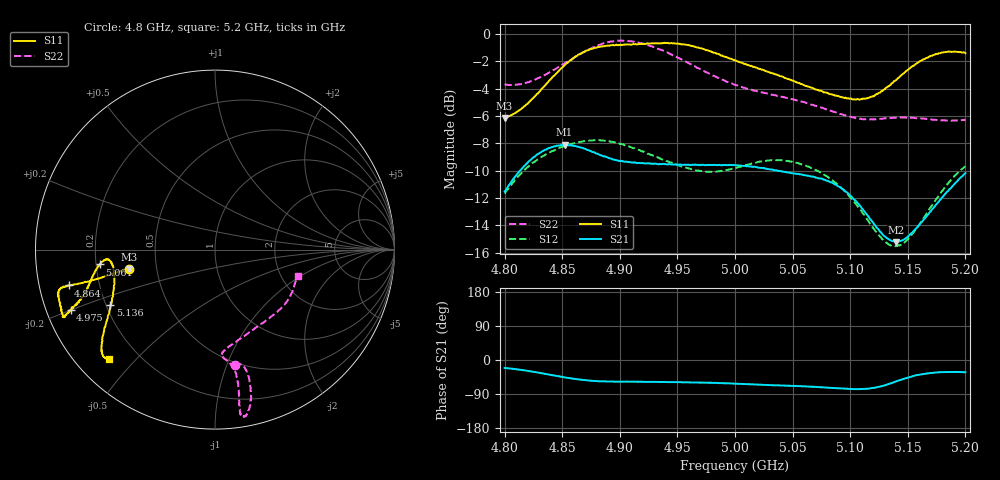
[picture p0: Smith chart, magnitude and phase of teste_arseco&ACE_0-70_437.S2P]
! Network Analyzer HP8722D
! Hewlett-Packard
! Data name: Linha & Wilkinson
! Saver's name: Rodrigo Anjos
! Comments: Teste da utilização de aquisição
! continua pelo VNA HP8722D
! Time and date: 8/5/2025 16:24
!  Frequency  S11  S21  S12  S22
# HZ  S  MA R 50
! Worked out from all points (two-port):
!   401 points, 4.8 GHz to 5.2 GHz, reference 50 ohm
!   highest |S21| = -8.12 dB at 4.852 GHz (marker M1); lowest = -15.2 dB at 5.14 GHz (marker M2)
!   |S21| within 3 dB of the highest: 4.803 GHz to 5.089 GHz (285.6 MHz wide, 5.77 % of centre); 5.189006 GHz to end of sweep
!   lowest |S11| = -6.2 dB at 4.8 GHz (marker M3), VSWR 2.94, Z = 17.2 - j4.93 ohm
!   |S11| at or under -10 dB: nowhere
!   |S22| runs from -6.4 to -0.5 dB; largest |S21 - S12| = 0.62
!   S11 on the Smith chart (normalised r, x): 4.8 GHz: 0.34, -0.10; 4.864 GHz: 0.09, -0.12; 4.975 GHz: 0.07, -0.20; 5.061 GHz: 0.22, -0.06; 5.136 GHz: 0.22, -0.24; 5.2 GHz: 0.10, -0.42
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4.8e9  0.4923 -167.3  0.2647 -21.0  0.2604 -142.3  0.6535 -80.2
4.827e9  0.5951 -166.6  0.3585 -32.2  0.3427 -146.5  0.6822 -75.8
4.852e9  0.7678 -166.0  0.3927 -45.6  0.3887 -151.0  0.7785 -75.4
4.864e9  0.8396 -166.3  0.3864 -51.1  0.4012 -152.8  0.8347 -76.1
4.867e9  0.8518 -166.1  0.3836 -52.3  0.4033 -153.3  0.8502 -76.2
4.899e9  0.9096 -163.3  0.3431 -57.4  0.3978 -157.5  0.944 -80.0
4.934e9  0.9233 -156.8  0.3336 -58.0  0.3524 -156.1  0.8779 -81.2
4.951e9  0.9201 -155.9  0.3322 -58.7  0.3304 -153.1  0.8162 -80.5
4.975e9  0.8728 -157.2  0.3313 -59.9  0.3134 -145.8  0.7233 -80.4
5e9  0.8012 -159.7  0.3307 -62.5  0.3231 -137.9  0.6502 -81.9
5.036e9  0.7105 -166.4  0.3166 -66.9  0.3449 -135.6  0.5947 -86.1
5.061e9  0.6455 -172.6  0.3038 -69.7  0.3305 -137.5  0.5615 -84.1
5.067e9  0.6342 -173.7  0.301 -70.4  0.3227 -138.1  0.5496 -82.8
5.086e9  0.5974 -174.8  0.2828 -74.1  0.288 -139.8  0.5179 -74.9
5.101e9  0.58 -171.5  0.2542 -76.6  0.2498 -139.6  0.4969 -65.7
5.115e9  0.5822 -164.6  0.2166 -75.6  0.2086 -135.6  0.4878 -55.7
5.134e9  0.6454 -153.0  0.1765 -62.8  0.1692 -118.4  0.4912 -42.7
5.136e9  0.6597 -152.0  0.1747 -60.8  0.1675 -115.9  0.4924 -41.6
5.14e9  0.679 -149.9  0.1734 -56.5  0.1675 -110.4  0.4928 -39.3
5.152e9  0.7494 -144.8  0.1847 -44.5  0.1808 -95.6  0.4936 -33.2
5.172e9  0.8368 -139.1  0.2301 -33.7  0.2393 -81.2  0.4847 -24.6
5.2e9  0.8494 -134.1  0.3093 -32.4  0.3281 -77.9  0.4845 -17.7
